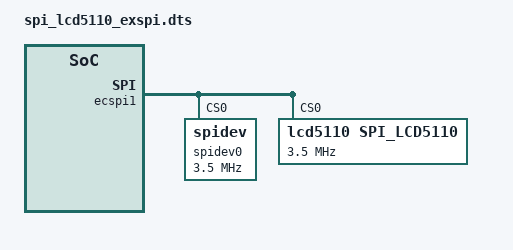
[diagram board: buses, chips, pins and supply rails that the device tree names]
/* Apalis SPI1 */
&ecspi1 {
         status = "okay";
         spidev0: spidev@1 {
               compatible = "";
               reg = <0>;
               spi-max-frequency = <3500000>;
         };

         spi_lcd5110@0 {
               compatible = "lcd5110,spi_lcd5110";
               reg = <0>;
               spi-max-frequency = <3500000>;
         };
};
